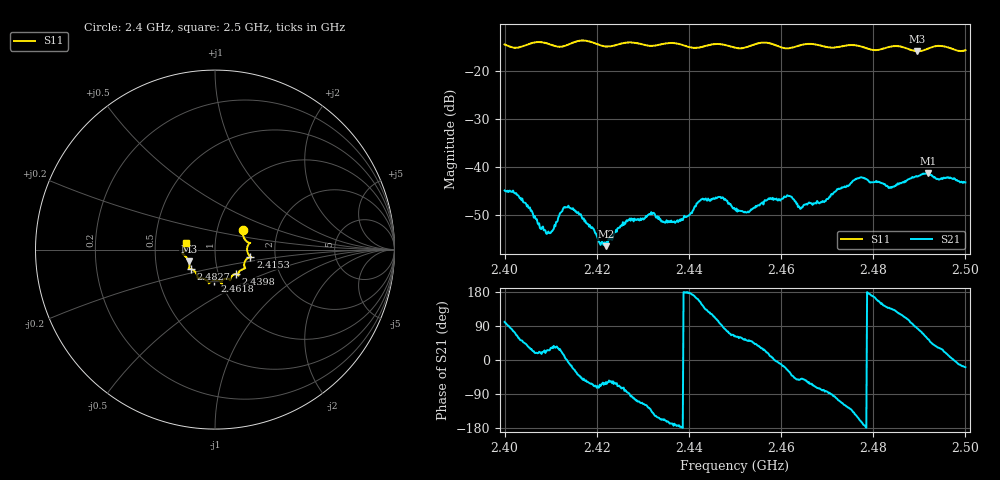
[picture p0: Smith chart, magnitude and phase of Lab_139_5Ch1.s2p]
# Hz S RI R 50
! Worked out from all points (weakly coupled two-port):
!   601 points, 2.4 GHz to 2.5 GHz, reference 50 ohm
!   highest |S21| = -41.27 dB at 2.4918 GHz (marker M1); lowest = -56.5 dB at 2.422 GHz (marker M2)
!   lowest |S11| = -15.9 dB at 2.4895 GHz (marker M3), VSWR 1.38, Z = 37 - j5 ohm
!   |S11| at or under -10 dB: start of sweep to end of sweep
!   S12 and S22 are empty: the file has one direction only
!   S11 on the Smith chart (normalised r, x): 2.4 GHz: 1.33, +0.30; 2.4153 GHz: 1.48, -0.12; 2.4398 GHz: 1.21, -0.34; 2.4618 GHz: 0.94, -0.33; 2.4827 GHz: 0.75, -0.17; 2.5 GHz: 0.72, +0.06
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2.4e9  0.1552 0.1072  -0.00104 0.0056  0 0  0 0
2.403e9  0.1645 0.0592  0.00269 0.00425  0 0  0 0
2.4095e9  0.1886 0.0313  0.00192 0.000918  0 0  0 0
2.413e9  0.1813 -0.0146  0.00379 0.000624  0 0  0 0
2.415333e9  0.197 -0.0394  0.003 -0.0017  0 0  0 0
2.416667e9  0.2027 -0.0435  0.00215 -0.00224  0 0  0 0
2.422e9  0.1672 -0.0645  0.000786 -0.00128  0 0  0 0
2.427e9  0.1684 -0.1038  0.000103 -0.00282  0 0  0 0
2.433333e9  0.1297 -0.1339  -0.00254 -0.00136  0 0  0 0
2.439833e9  0.1154 -0.1358  -0.0031 7.35e-05  0 0  0 0
2.443167e9  0.0882 -0.1565  -0.00358 0.0029  0 0  0 0
2.447e9  0.0837 -0.1699  -0.000233 0.00472  0 0  0 0
2.45e9  0.0645 -0.1623  0.00164 0.00325  0 0  0 0
2.461833e9  -0.00314 -0.1724  0.00427 -0.0026  0 0  0 0
2.464167e9  -0.0288 -0.1828  0.00231 -0.00285  0 0  0 0
2.466667e9  -0.0343 -0.1878  0.00191 -0.0037  0 0  0 0
2.477e9  -0.0971 -0.1533  -0.00716 -0.0029  0 0  0 0
2.482667e9  -0.1353 -0.1084  -0.00503 0.00406  0 0  0 0
2.483333e9  -0.1403 -0.1081  -0.00448 0.00407  0 0  0 0
2.4895e9  -0.1459 -0.0659  0.000848 0.0079  0 0  0 0
2.491833e9  -0.1664 -0.0359  0.00492 0.00711  0 0  0 0
2.5e9  -0.1591 0.0391  0.00653 -0.00226  0 0  0 0
